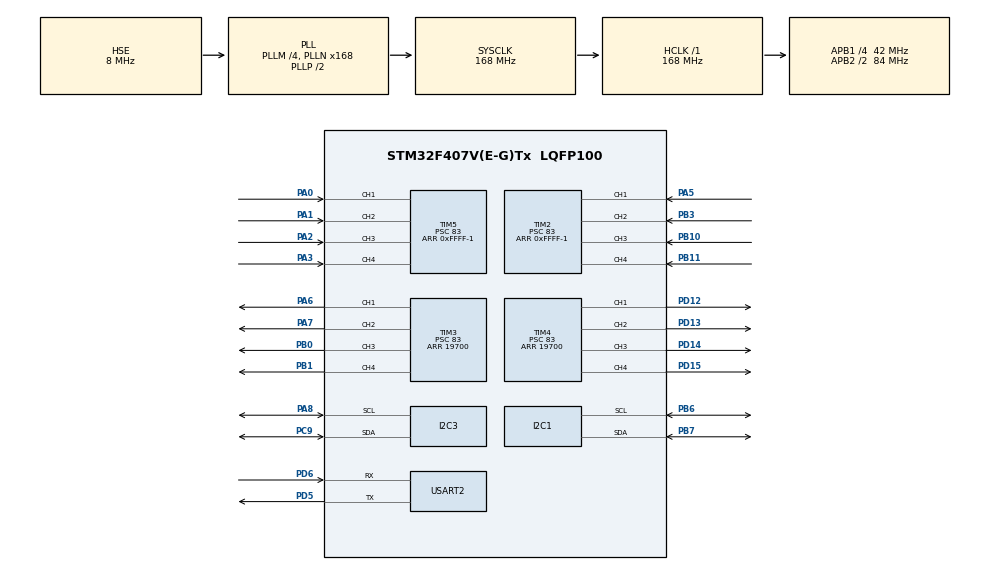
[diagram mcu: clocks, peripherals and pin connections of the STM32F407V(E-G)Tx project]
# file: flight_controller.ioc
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I2C1.I2C_Mode=I2C_Fast
I2C3.I2C_Mode=I2C_Fast
Mcu.Family=STM32F4
Mcu.Name=STM32F407V(E-G)Tx
Mcu.Package=LQFP100
NVIC.PriorityGroup=NVIC_PRIORITYGROUP_0
NVIC.TIM2_IRQn=true\:0\:0\:false\:false\:true\:true\:true\:true
NVIC.TIM5_IRQn=true\:0\:0\:false\:false\:true\:true\:true\:true
PA0-WKUP.GPIO_PuPd=GPIO_PULLDOWN
PA0-WKUP.Signal=S_TIM5_CH1
PA1.GPIO_PuPd=GPIO_PULLDOWN
PA1.Signal=S_TIM5_CH2
PA2.GPIO_PuPd=GPIO_PULLDOWN
PA2.Signal=S_TIM5_CH3
PA3.GPIO_PuPd=GPIO_PULLDOWN
PA3.Signal=S_TIM5_CH4
PA5.GPIO_PuPd=GPIO_PULLDOWN
PA5.Signal=S_TIM2_CH1_ETR
PA6.GPIO_Speed=GPIO_SPEED_FREQ_VERY_HIGH
PA6.Signal=S_TIM3_CH1
PA7.GPIO_Speed=GPIO_SPEED_FREQ_VERY_HIGH
PA7.Signal=S_TIM3_CH2
PA8.Mode=I2C
PA8.Signal=I2C3_SCL
PB0.GPIO_Speed=GPIO_SPEED_FREQ_VERY_HIGH
PB0.Signal=S_TIM3_CH3
PB1.GPIO_Speed=GPIO_SPEED_FREQ_VERY_HIGH
PB1.Signal=S_TIM3_CH4
PB10.GPIO_PuPd=GPIO_PULLDOWN
PB10.Signal=S_TIM2_CH3
PB11.GPIO_PuPd=GPIO_PULLDOWN
PB11.Signal=S_TIM2_CH4
PB3.GPIO_PuPd=GPIO_PULLDOWN
PB3.Signal=S_TIM2_CH2
PB6.Mode=I2C
PB6.Signal=I2C1_SCL
PB7.Mode=I2C
PB7.Signal=I2C1_SDA
PC9.Mode=I2C
PC9.Signal=I2C3_SDA
PD12.GPIO_PuPd=GPIO_NOPULL
PD12.GPIO_Speed=GPIO_SPEED_FREQ_VERY_HIGH
PD12.Signal=S_TIM4_CH1
PD13.GPIO_PuPd=GPIO_NOPULL
PD13.GPIO_Speed=GPIO_SPEED_FREQ_VERY_HIGH
PD13.Signal=S_TIM4_CH2
PD14.GPIO_PuPd=GPIO_NOPULL
PD14.GPIO_Speed=GPIO_SPEED_FREQ_VERY_HIGH
PD14.Signal=S_TIM4_CH3
PD15.GPIO_PuPd=GPIO_NOPULL
PD15.GPIO_Speed=GPIO_SPEED_FREQ_VERY_HIGH
PD15.Signal=S_TIM4_CH4
PD5.Mode=Asynchronous
PD5.Signal=USART2_TX
PD6.Mode=Asynchronous
PD6.Signal=USART2_RX
PH0-OSC_IN.Mode=HSE-External-Oscillator
PH0-OSC_IN.Signal=RCC_OSC_IN
PH1-OSC_OUT.Mode=HSE-External-Oscillator
PH1-OSC_OUT.Signal=RCC_OSC_OUT
ProjectManager.HeapSize=0x200
ProjectManager.StackSize=0x400
ProjectManager.TargetToolchain=STM32CubeIDE
RCC.48MHZClocksFreq_Value=48000000
RCC.AHBFreq_Value=168000000
RCC.APB1CLKDivider=RCC_HCLK_DIV4
RCC.APB1Freq_Value=42000000
RCC.APB1TimFreq_Value=84000000
RCC.APB2CLKDivider=RCC_HCLK_DIV2
RCC.APB2Freq_Value=84000000
RCC.APB2TimFreq_Value=168000000
RCC.CortexFreq_Value=168000000
RCC.HCLKFreq_Value=168000000
RCC.HSE_VALUE=8000000
RCC.HSI_VALUE=16000000
RCC.LSE_VALUE=32768
RCC.PLLM=4
RCC.PLLN=168
RCC.PLLQ=7
RCC.PLLSourceVirtual=RCC_PLLSOURCE_HSE
RCC.SYSCLKFreq_VALUE=168000000
RCC.SYSCLKSource=RCC_SYSCLKSOURCE_PLLCLK
RCC.VCOOutputFreq_Value=336000000
SH.S_TIM2_CH1_ETR.0=TIM2_CH1,Input_Capture1_from_TI1
SH.S_TIM2_CH2.0=TIM2_CH2,Input_Capture2_from_TI2
SH.S_TIM2_CH3.0=TIM2_CH3,Input_Capture3_from_TI3
SH.S_TIM2_CH4.0=TIM2_CH4,Input_Capture4_from_TI4
SH.S_TIM3_CH1.0=TIM3_CH1,PWM Generation1 CH1
SH.S_TIM3_CH2.0=TIM3_CH2,PWM Generation2 CH2
SH.S_TIM3_CH3.0=TIM3_CH3,PWM Generation3 CH3
SH.S_TIM3_CH4.0=TIM3_CH4,PWM Generation4 CH4
SH.S_TIM4_CH1.0=TIM4_CH1,PWM Generation1 CH1
SH.S_TIM4_CH2.0=TIM4_CH2,PWM Generation2 CH2
SH.S_TIM4_CH3.0=TIM4_CH3,PWM Generation3 CH3
SH.S_TIM4_CH4.0=TIM4_CH4,PWM Generation4 CH4
SH.S_TIM5_CH1.0=TIM5_CH1,Input_Capture1_from_TI1
SH.S_TIM5_CH2.0=TIM5_CH2,Input_Capture2_from_TI2
SH.S_TIM5_CH3.0=TIM5_CH3,Input_Capture3_from_TI3
SH.S_TIM5_CH4.0=TIM5_CH4,Input_Capture4_from_TI4
TIM2.Channel-Input_Capture1_from_TI1=TIM_CHANNEL_1
TIM2.Channel-Input_Capture2_from_TI2=TIM_CHANNEL_2
TIM2.Channel-Input_Capture3_from_TI3=TIM_CHANNEL_3
TIM2.Channel-Input_Capture4_from_TI4=TIM_CHANNEL_4
TIM2.Period=0xFFFF-1
TIM2.Prescaler=83
TIM3.Channel-PWM\ Generation1\ CH1=TIM_CHANNEL_1
TIM3.Channel-PWM\ Generation2\ CH2=TIM_CHANNEL_2
TIM3.Channel-PWM\ Generation3\ CH3=TIM_CHANNEL_3
TIM3.Channel-PWM\ Generation4\ CH4=TIM_CHANNEL_4
TIM3.Period=19700
TIM3.Prescaler=83
TIM4.Channel-PWM\ Generation1\ CH1=TIM_CHANNEL_1
TIM4.Channel-PWM\ Generation2\ CH2=TIM_CHANNEL_2
TIM4.Channel-PWM\ Generation3\ CH3=TIM_CHANNEL_3
TIM4.Channel-PWM\ Generation4\ CH4=TIM_CHANNEL_4
TIM4.Period=19700
TIM4.Prescaler=83
TIM5.Channel-Input_Capture1_from_TI1=TIM_CHANNEL_1
TIM5.Channel-Input_Capture2_from_TI2=TIM_CHANNEL_2
TIM5.Channel-Input_Capture3_from_TI3=TIM_CHANNEL_3
TIM5.Channel-Input_Capture4_from_TI4=TIM_CHANNEL_4
TIM5.Period=0xFFFF-1
TIM5.Prescaler=83
USART2.VirtualMode=VM_ASYNC
VP_TIM2_VS_ClockSourceINT.Mode=Internal
VP_TIM3_VS_ClockSourceINT.Mode=Internal
VP_TIM4_VS_ClockSourceINT.Mode=Internal
VP_TIM5_VS_ClockSourceINT.Mode=Internal
board=STM32F407G-DISC1

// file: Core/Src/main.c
/* USER CODE BEGIN Header */
/**
  ******************************************************************************
  * @file           : main.c
  * @brief          : Main program body
  ******************************************************************************
  * @attention
  *
  * Copyright (c) 2024 STMicroelectronics.
  * All rights reserved.
  *
  * This software is licensed under terms that can be found in the LICENSE file
  * in the root directory of this software component.
  * If no LICENSE file comes with this software, it is provided AS-IS.
  *
  ******************************************************************************
  */
/* USER CODE END Header */
#include "main.h"
#include "receiver.h"
#include "mpu6500.h"
#include "math.h"
#include "kalman_filter.h"
#include "bmp280.h"
#include "math.h"
#include "lwgps/lwgps.h"

/* USER CODE BEGIN PD */

float CalculateAltidude(float pressure)
{
	return 44330.0*(1.0 - pow((pressure/101325),0.1903)     )+65;
}

BMP280_HandleTypedef bmp280;

float pressure, temperature,altidude;

const mpu6500_accel_data_t error_offset = {
		.x=1530,
		.y=-275,
		.z=-1320
};

float roll_angle;
int16_t kalman_roll_angle;

mpu6500_accel_data_t g_accel_data;

/* USER CODE END PD */

I2C_HandleTypeDef hi2c1;
I2C_HandleTypeDef hi2c3;

TIM_HandleTypeDef htim2;
TIM_HandleTypeDef htim3;
TIM_HandleTypeDef htim4;
TIM_HandleTypeDef htim5;

UART_HandleTypeDef huart2;

lwgps_t gps;
uint8_t rx_buffer[128];
uint8_t rx_index = 0;
uint8_t rx_data = 0;

void HAL_UART_RxCpltCallback(UART_HandleTypeDef *huart)
{
	if(huart == &huart2) {
		if(rx_data != '\n' && rx_index < sizeof(rx_buffer)) {
			rx_buffer[rx_index++] = rx_data;
		} else {
			lwgps_process(&gps, rx_buffer, rx_index+1);
			rx_index = 0;
			rx_data = 0;
		}
		HAL_UART_Receive_IT(&huart2, &rx_data, 1);
	}
}

void SystemClock_Config(void);
static void MX_GPIO_Init(void);
static void MX_I2C1_Init(void);
static void MX_I2C3_Init(void);
static void MX_TIM2_Init(void);
static void MX_TIM3_Init(void);
static void MX_TIM4_Init(void);
static void MX_TIM5_Init(void);
static void MX_USART2_UART_Init(void);

int main(void)
{

  /* USER CODE BEGIN 1 */

	float dt = 0;

	KalmanFilter kf;
	kalman_filter_init(&kf);

  /* USER CODE END 1 */

  /* MCU Configuration--------------------------------------------------------*/

  /* Reset of all peripherals, Initializes the Flash interface and the Systick. */
  HAL_Init();

  /* Configure the system clock */
  SystemClock_Config();

  /* Initialize all configured peripherals */
  MX_GPIO_Init();
  MX_I2C1_Init();
  MX_I2C3_Init();
  MX_TIM2_Init();
  MX_TIM3_Init();
  MX_TIM4_Init();
  MX_TIM5_Init();
  MX_USART2_UART_Init();
  /* USER CODE BEGIN 2 */
  while(mpu6500_init(&hi2c1, MPU6500_I2C_ADDR));
    uint32_t previous_tick = HAL_GetTick();

    bmp280_init_default_params(&bmp280.params);
      bmp280.addr = BMP280_I2C_ADDRESS_0;
      bmp280.i2c = &hi2c3;

      	while (!bmp280_init(&bmp280, &bmp280.params))
      	{

      			HAL_Delay(100);
      	}

      	lwgps_init(&gps);
      	    HAL_UART_Receive_IT(&huart2, &rx_data, 1);
   Receiver_Init();
  /* USER CODE END 2 */

  /* Infinite loop */
  while (1)
  {

    /* USER CODE BEGIN 3 */

	  uint32_t current_tick = HAL_GetTick();
	  	  dt = (current_tick -previous_tick) /1000.0f;
	  	  previous_tick = current_tick;
	  	mpu6500_read_accelerometer_data(&hi2c1, MPU6500_I2C_ADDR, &g_accel_data);

	  		  g_accel_data = mpu6500_accelerometer_calibration(&error_offset, &g_accel_data);

	  		  roll_angle= atan2(g_accel_data.y,g_accel_data.z) *(180.0/M_PI);

	  		  kalman_roll_angle = kalman_filter_get_angle(&kf, roll_angle, dt);
	  		  if(roll_angle<0)
	  		  {
	  			  //HAL_GPIO_WritePin(GPIOD, LD4_Pin, GPIO_PIN_RESET);
	  			  //HAL_GPIO_WritePin(GPIOD, LD5_Pin, GPIO_PIN_SET);
	  		  }
	  		  else
	  		  {
	  			  //HAL_GPIO_WritePin(GPIOD, LD4_Pin, GPIO_PIN_SET);
	  			  //HAL_GPIO_WritePin(GPIOD, LD5_Pin, GPIO_PIN_RESET);
	  		  }

	  		while (!bmp280_read_float(&bmp280, &temperature, &pressure))
	  			  {

	  			  }

	  			  altidude = CalculateAltidude(pressure);

	  		HAL_Delay(10);

  }
  /* USER CODE END 3 */
}

void SystemClock_Config(void)
{
  RCC_OscInitTypeDef RCC_OscInitStruct = {0};
  RCC_ClkInitTypeDef RCC_ClkInitStruct = {0};

  /** Configure the main internal regulator output voltage
  */
  __HAL_RCC_PWR_CLK_ENABLE();
  __HAL_PWR_VOLTAGESCALING_CONFIG(PWR_REGULATOR_VOLTAGE_SCALE1);

  /** Initializes the RCC Oscillators according to the specified parameters
  * in the RCC_OscInitTypeDef structure.
  */
  RCC_OscInitStruct.OscillatorType = RCC_OSCILLATORTYPE_LSI|RCC_OSCILLATORTYPE_HSE;
  RCC_OscInitStruct.HSEState = RCC_HSE_ON;
  RCC_OscInitStruct.LSIState = RCC_LSI_ON;
  RCC_OscInitStruct.PLL.PLLState = RCC_PLL_ON;
  RCC_OscInitStruct.PLL.PLLSource = RCC_PLLSOURCE_HSE;
  RCC_OscInitStruct.PLL.PLLM = 4;
  RCC_OscInitStruct.PLL.PLLN = 168;
  RCC_OscInitStruct.PLL.PLLP = RCC_PLLP_DIV2;
  RCC_OscInitStruct.PLL.PLLQ = 7;
  if (HAL_RCC_OscConfig(&RCC_OscInitStruct) != HAL_OK)
  {
    Error_Handler();
  }

  /** Initializes the CPU, AHB and APB buses clocks
  */
  RCC_ClkInitStruct.ClockType = RCC_CLOCKTYPE_HCLK|RCC_CLOCKTYPE_SYSCLK
                              |RCC_CLOCKTYPE_PCLK1|RCC_CLOCKTYPE_PCLK2;
  RCC_ClkInitStruct.SYSCLKSource = RCC_SYSCLKSOURCE_PLLCLK;
  RCC_ClkInitStruct.AHBCLKDivider = RCC_SYSCLK_DIV1;
  RCC_ClkInitStruct.APB1CLKDivider = RCC_HCLK_DIV4;
  RCC_ClkInitStruct.APB2CLKDivider = RCC_HCLK_DIV2;

  if (HAL_RCC_ClockConfig(&RCC_ClkInitStruct, FLASH_LATENCY_5) != HAL_OK)
  {
    Error_Handler();
  }
}

static void MX_I2C1_Init(void)
{

  hi2c1.Instance = I2C1;
  hi2c1.Init.ClockSpeed = 400000;
  hi2c1.Init.DutyCycle = I2C_DUTYCYCLE_2;
  hi2c1.Init.OwnAddress1 = 0;
  hi2c1.Init.AddressingMode = I2C_ADDRESSINGMODE_7BIT;
  hi2c1.Init.DualAddressMode = I2C_DUALADDRESS_DISABLE;
  hi2c1.Init.OwnAddress2 = 0;
  hi2c1.Init.GeneralCallMode = I2C_GENERALCALL_DISABLE;
  hi2c1.Init.NoStretchMode = I2C_NOSTRETCH_DISABLE;
  if (HAL_I2C_Init(&hi2c1) != HAL_OK)
  {
    Error_Handler();
  }

}

static void MX_I2C3_Init(void)
{

  hi2c3.Instance = I2C3;
  hi2c3.Init.ClockSpeed = 400000;
  hi2c3.Init.DutyCycle = I2C_DUTYCYCLE_2;
  hi2c3.Init.OwnAddress1 = 0;
  hi2c3.Init.AddressingMode = I2C_ADDRESSINGMODE_7BIT;
  hi2c3.Init.DualAddressMode = I2C_DUALADDRESS_DISABLE;
  hi2c3.Init.OwnAddress2 = 0;
  hi2c3.Init.GeneralCallMode = I2C_GENERALCALL_DISABLE;
  hi2c3.Init.NoStretchMode = I2C_NOSTRETCH_DISABLE;
  if (HAL_I2C_Init(&hi2c3) != HAL_OK)
  {
    Error_Handler();
  }

}

static void MX_TIM2_Init(void)
{

  TIM_ClockConfigTypeDef sClockSourceConfig = {0};
  TIM_MasterConfigTypeDef sMasterConfig = {0};
  TIM_IC_InitTypeDef sConfigIC = {0};

  htim2.Instance = TIM2;
  htim2.Init.Prescaler = 83;
  htim2.Init.CounterMode = TIM_COUNTERMODE_UP;
  htim2.Init.Period = 0xFFFF-1;
  htim2.Init.ClockDivision = TIM_CLOCKDIVISION_DIV1;
  htim2.Init.AutoReloadPreload = TIM_AUTORELOAD_PRELOAD_DISABLE;
  if (HAL_TIM_Base_Init(&htim2) != HAL_OK)
  {
    Error_Handler();
  }
  sClockSourceConfig.ClockSource = TIM_CLOCKSOURCE_INTERNAL;
  if (HAL_TIM_ConfigClockSource(&htim2, &sClockSourceConfig) != HAL_OK)
  {
    Error_Handler();
  }
  if (HAL_TIM_IC_Init(&htim2) != HAL_OK)
  {
    Error_Handler();
  }
  sMasterConfig.MasterOutputTrigger = TIM_TRGO_RESET;
  sMasterConfig.MasterSlaveMode = TIM_MASTERSLAVEMODE_DISABLE;
  if (HAL_TIMEx_MasterConfigSynchronization(&htim2, &sMasterConfig) != HAL_OK)
  {
    Error_Handler();
  }
  sConfigIC.ICPolarity = TIM_INPUTCHANNELPOLARITY_RISING;
  sConfigIC.ICSelection = TIM_ICSELECTION_DIRECTTI;
  sConfigIC.ICPrescaler = TIM_ICPSC_DIV1;
  sConfigIC.ICFilter = 0;
  if (HAL_TIM_IC_ConfigChannel(&htim2, &sConfigIC, TIM_CHANNEL_1) != HAL_OK)
  {
    Error_Handler();
  }
  if (HAL_TIM_IC_ConfigChannel(&htim2, &sConfigIC, TIM_CHANNEL_2) != HAL_OK)
  {
    Error_Handler();
  }
  if (HAL_TIM_IC_ConfigChannel(&htim2, &sConfigIC, TIM_CHANNEL_3) != HAL_OK)
  {
    Error_Handler();
  }
  if (HAL_TIM_IC_ConfigChannel(&htim2, &sConfigIC, TIM_CHANNEL_4) != HAL_OK)
  {
    Error_Handler();
  }

}

static void MX_TIM3_Init(void)
{

  TIM_ClockConfigTypeDef sClockSourceConfig = {0};
  TIM_MasterConfigTypeDef sMasterConfig = {0};
  TIM_OC_InitTypeDef sConfigOC = {0};

  htim3.Instance = TIM3;
  htim3.Init.Prescaler = 83;
  htim3.Init.CounterMode = TIM_COUNTERMODE_UP;
  htim3.Init.Period = 19700;
  htim3.Init.ClockDivision = TIM_CLOCKDIVISION_DIV1;
  htim3.Init.AutoReloadPreload = TIM_AUTORELOAD_PRELOAD_DISABLE;
  if (HAL_TIM_Base_Init(&htim3) != HAL_OK)
  {
    Error_Handler();
  }
  sClockSourceConfig.ClockSource = TIM_CLOCKSOURCE_INTERNAL;
  if (HAL_TIM_ConfigClockSource(&htim3, &sClockSourceConfig) != HAL_OK)
  {
    Error_Handler();
  }
  if (HAL_TIM_PWM_Init(&htim3) != HAL_OK)
  {
    Error_Handler();
  }
  sMasterConfig.MasterOutputTrigger = TIM_TRGO_RESET;
  sMasterConfig.MasterSlaveMode = TIM_MASTERSLAVEMODE_DISABLE;
  if (HAL_TIMEx_MasterConfigSynchronization(&htim3, &sMasterConfig) != HAL_OK)
  {
    Error_Handler();
  }
  sConfigOC.OCMode = TIM_OCMODE_PWM1;
  sConfigOC.Pulse = 0;
  sConfigOC.OCPolarity = TIM_OCPOLARITY_HIGH;
  sConfigOC.OCFastMode = TIM_OCFAST_DISABLE;
  if (HAL_TIM_PWM_ConfigChannel(&htim3, &sConfigOC, TIM_CHANNEL_1) != HAL_OK)
  {
    Error_Handler();
  }
  if (HAL_TIM_PWM_ConfigChannel(&htim3, &sConfigOC, TIM_CHANNEL_2) != HAL_OK)
  {
    Error_Handler();
  }
  if (HAL_TIM_PWM_ConfigChannel(&htim3, &sConfigOC, TIM_CHANNEL_3) != HAL_OK)
  {
    Error_Handler();
  }
  if (HAL_TIM_PWM_ConfigChannel(&htim3, &sConfigOC, TIM_CHANNEL_4) != HAL_OK)
  {
    Error_Handler();
  }
  HAL_TIM_MspPostInit(&htim3);

}

static void MX_TIM4_Init(void)
{

  TIM_ClockConfigTypeDef sClockSourceConfig = {0};
  TIM_MasterConfigTypeDef sMasterConfig = {0};
  TIM_OC_InitTypeDef sConfigOC = {0};

  htim4.Instance = TIM4;
  htim4.Init.Prescaler = 83;
  htim4.Init.CounterMode = TIM_COUNTERMODE_UP;
  htim4.Init.Period = 19700;
  htim4.Init.ClockDivision = TIM_CLOCKDIVISION_DIV1;
  htim4.Init.AutoReloadPreload = TIM_AUTORELOAD_PRELOAD_DISABLE;
  if (HAL_TIM_Base_Init(&htim4) != HAL_OK)
  {
    Error_Handler();
  }
  sClockSourceConfig.ClockSource = TIM_CLOCKSOURCE_INTERNAL;
  if (HAL_TIM_ConfigClockSource(&htim4, &sClockSourceConfig) != HAL_OK)
  {
    Error_Handler();
  }
  if (HAL_TIM_PWM_Init(&htim4) != HAL_OK)
  {
    Error_Handler();
  }
  sMasterConfig.MasterOutputTrigger = TIM_TRGO_RESET;
  sMasterConfig.MasterSlaveMode = TIM_MASTERSLAVEMODE_DISABLE;
  if (HAL_TIMEx_MasterConfigSynchronization(&htim4, &sMasterConfig) != HAL_OK)
  {
    Error_Handler();
  }
  sConfigOC.OCMode = TIM_OCMODE_PWM1;
  sConfigOC.Pulse = 0;
  sConfigOC.OCPolarity = TIM_OCPOLARITY_HIGH;
  sConfigOC.OCFastMode = TIM_OCFAST_DISABLE;
  if (HAL_TIM_PWM_ConfigChannel(&htim4, &sConfigOC, TIM_CHANNEL_1) != HAL_OK)
  {
    Error_Handler();
  }
  if (HAL_TIM_PWM_ConfigChannel(&htim4, &sConfigOC, TIM_CHANNEL_2) != HAL_OK)
  {
    Error_Handler();
  }
  if (HAL_TIM_PWM_ConfigChannel(&htim4, &sConfigOC, TIM_CHANNEL_3) != HAL_OK)
  {
    Error_Handler();
  }
  if (HAL_TIM_PWM_ConfigChannel(&htim4, &sConfigOC, TIM_CHANNEL_4) != HAL_OK)
  {
    Error_Handler();
  }
  HAL_TIM_MspPostInit(&htim4);

}

static void MX_TIM5_Init(void)
{

  TIM_ClockConfigTypeDef sClockSourceConfig = {0};
  TIM_MasterConfigTypeDef sMasterConfig = {0};
  TIM_IC_InitTypeDef sConfigIC = {0};

  htim5.Instance = TIM5;
  htim5.Init.Prescaler = 83;
  htim5.Init.CounterMode = TIM_COUNTERMODE_UP;
  htim5.Init.Period = 0xFFFF-1;
  htim5.Init.ClockDivision = TIM_CLOCKDIVISION_DIV1;
  htim5.Init.AutoReloadPreload = TIM_AUTORELOAD_PRELOAD_DISABLE;
  if (HAL_TIM_Base_Init(&htim5) != HAL_OK)
  {
    Error_Handler();
  }
  sClockSourceConfig.ClockSource = TIM_CLOCKSOURCE_INTERNAL;
  if (HAL_TIM_ConfigClockSource(&htim5, &sClockSourceConfig) != HAL_OK)
  {
    Error_Handler();
  }
  if (HAL_TIM_IC_Init(&htim5) != HAL_OK)
  {
    Error_Handler();
  }
  sMasterConfig.MasterOutputTrigger = TIM_TRGO_RESET;
  sMasterConfig.MasterSlaveMode = TIM_MASTERSLAVEMODE_DISABLE;
  if (HAL_TIMEx_MasterConfigSynchronization(&htim5, &sMasterConfig) != HAL_OK)
  {
    Error_Handler();
  }
  sConfigIC.ICPolarity = TIM_INPUTCHANNELPOLARITY_RISING;
  sConfigIC.ICSelection = TIM_ICSELECTION_DIRECTTI;
  sConfigIC.ICPrescaler = TIM_ICPSC_DIV1;
  sConfigIC.ICFilter = 0;
  if (HAL_TIM_IC_ConfigChannel(&htim5, &sConfigIC, TIM_CHANNEL_1) != HAL_OK)
  {
    Error_Handler();
  }
  if (HAL_TIM_IC_ConfigChannel(&htim5, &sConfigIC, TIM_CHANNEL_2) != HAL_OK)
  {
    Error_Handler();
  }
  if (HAL_TIM_IC_ConfigChannel(&htim5, &sConfigIC, TIM_CHANNEL_3) != HAL_OK)
  {
    Error_Handler();
  }
  if (HAL_TIM_IC_ConfigChannel(&htim5, &sConfigIC, TIM_CHANNEL_4) != HAL_OK)
  {
    Error_Handler();
  }

}

static void MX_USART2_UART_Init(void)
{

  huart2.Instance = USART2;
  huart2.Init.BaudRate = 115200;
  huart2.Init.WordLength = UART_WORDLENGTH_8B;
  huart2.Init.StopBits = UART_STOPBITS_1;
  huart2.Init.Parity = UART_PARITY_NONE;
  huart2.Init.Mode = UART_MODE_TX_RX;
  huart2.Init.HwFlowCtl = UART_HWCONTROL_NONE;
  huart2.Init.OverSampling = UART_OVERSAMPLING_16;
  if (HAL_UART_Init(&huart2) != HAL_OK)
  {
    Error_Handler();
  }

}

static void MX_GPIO_Init(void)
{

  /* GPIO Ports Clock Enable */
  __HAL_RCC_GPIOH_CLK_ENABLE();
  __HAL_RCC_GPIOA_CLK_ENABLE();
  __HAL_RCC_GPIOB_CLK_ENABLE();
  __HAL_RCC_GPIOD_CLK_ENABLE();
  __HAL_RCC_GPIOC_CLK_ENABLE();

}

void Error_Handler(void)
{
  __disable_irq();
  while (1)
  {
  }
}
